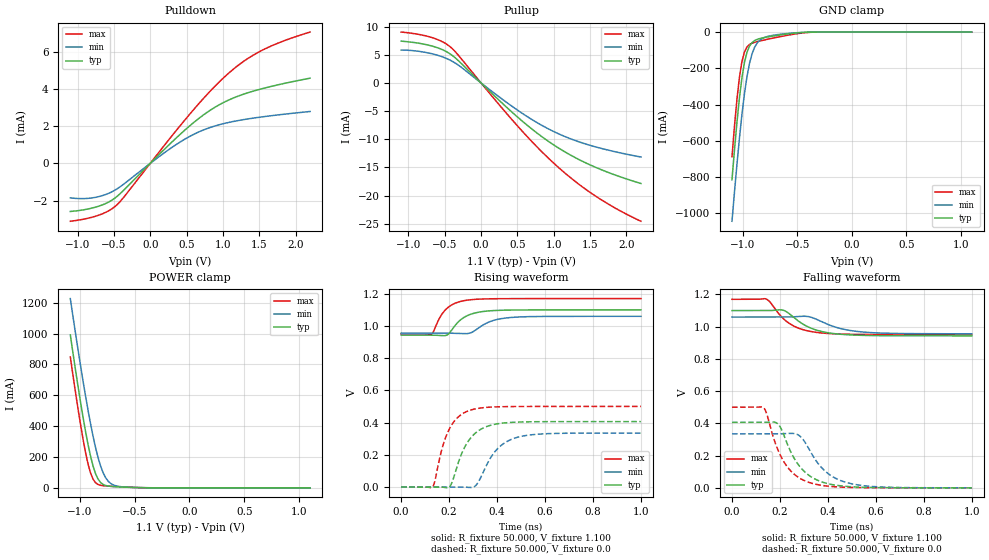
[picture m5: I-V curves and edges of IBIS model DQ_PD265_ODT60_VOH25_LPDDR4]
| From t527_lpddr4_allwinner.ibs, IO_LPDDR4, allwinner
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|   Model DQ_PD265_ODT60_VOH25_LPDDR4
[Model] DQ_PD265_ODT60_VOH25_LPDDR4
Model_type I/O
Polarity   Non-Inverting
Enable   Active-Low
Vinl =  0.550V
Vinh =  0.550V
C_comp   1.609pF   1.575pF   1.657pF
C_comp_pullup   0.520pF   0.503pF   0.541pF
C_comp_pulldown   0.824pF   0.801pF   0.852pF
[Model Spec]
Vinh   0.550V   0.530V   0.585V
Vinl   0.550V   0.530V   0.585V
[Temperature Range]   25.000   0.125k   -40.000
[Voltage Range]   1.100V   1.060V   1.170V
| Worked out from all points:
|   slope of the pulldown table from 0 to 0.165 V, typ, clamps not added: 257 ohm
|   slope of the pullup table from 0 to 0.165 V, typ, clamps not added: 80.1 ohm
|   GND clamp passes 1 mA (typ) near -0.41 V on its own axis
|   POWER clamp passes 1 mA (typ) near -0.43 V on its own axis
|   rising waveform, R_fixture 50.000, V_fixture 1.100: 20-80 % time 71.8ps typ, 84.1ps min, 62.7ps max; typ from 0.943 V to 1.1 V
|   rising waveform, R_fixture 50.000, V_fixture 0.0: 20-80 % time 78.6ps typ, 91ps min, 67.8ps max; typ from 0 V to 0.406 V
|   falling waveform, R_fixture 50.000, V_fixture 1.100: 20-80 % time 113ps typ, 130ps min, 98.9ps max; typ from 1.1 V to 0.943 V
|   falling waveform, R_fixture 50.000, V_fixture 0.0: 20-80 % time 101ps typ, 112ps min, 92.2ps max; typ from 0.406 V to 0 V
[Pulldown]
|Voltage   I(typ)   I(min)   I(max)
-1.1V     -2.583mA   -1.855mA   -3.111mA
-930mV    -2.503mA   -1.893mA   -3.008mA
-760mV    -2.36mA    -1.83mA    -2.848mA
-590mV    -2.113mA   -1.639mA   -2.585mA
-454mV    -1.765mA   -1.363mA   -2.21mA
396mV     1.503mA    1.108mA    1.946mA
668mV     2.412mA    1.688mA    3.204mA
940mV     3.126mA    2.064mA    4.336mA
1.212V    3.615mA    2.3mA      5.27mA
1.484V    3.954mA    2.467mA    5.96mA
1.79V     4.247mA    2.617mA    6.508mA
2.2V      4.576mA    2.787mA    7.054mA
[Pullup]
|Voltage   I(typ)   I(min)   I(max)
-1.1V     7.428mA    5.851mA    9.045mA
-690mV    6.608mA    5.228mA    8.118mA
-520mV    5.839mA    4.581mA    7.239mA
-418mV    5.091mA    3.997mA    6.347mA
-282mV    3.584mA    2.878mA    4.448mA
466mV     -5.65mA    -4.511mA   -7.12mA
738mV     -8.578mA   -6.799mA   -10.94mA
1.01V     -11.09mA   -8.694mA   -14.37mA
1.282V    -13.17mA   -10.16mA   -17.36mA
1.554V    -14.86mA   -11.28mA   -19.91mA
1.86V     -16.42mA   -12.26mA   -22.33mA
2.2V      -17.86mA   -13.16mA   -24.57mA
[GND_clamp]
|Voltage   I(typ)   I(min)   I(max)
-1.1V     -814.3mA   -1.043A    -687.3mA
-1.054V   -495.2mA   -726.8mA   -368.6mA
-1.031V   -359.9mA   -582mA     -246.8mA
-1.008V   -249mA     -451mA     -160.6mA
-985mV    -166.3mA   -337.4mA   -109.1mA
-962mV    -111mA     -244.1mA   -82.21mA
-939mV    -77.52mA   -172.2mA   -68.77mA
-893mV    -47.38mA   -84.61mA   -56.67mA
-847mV    -36.3mA    -46.06mA   -49.6mA
-709mV    -20.71mA   -16.6mA    -31.62mA
-364mV    -364.7uA   -458uA     -980.4uA
1.1V      0A         0A         0A
[POWER_clamp]
|Voltage   I(typ)   I(min)   I(max)
-1.085V   991.5mA    1.227A     848.5mA
-1.016V   664.1mA    901.8mA    518.1mA
-970mV    462mA      696.7mA    319.4mA
-924mV    282.7mA    505.5mA    156.2mA
-901mV    206.2mA    417.2mA    96.77mA
-855mV    91.54mA    261mA      33.12mA
-809mV    34.38mA    141.1mA    16.54mA
-763mV    15.18mA    65.46mA    12.33mA
-717mV    9.405mA    28.28mA    10.15mA
-625mV    5.457mA    7.413mA    6.614mA
-441mV    1.152mA    1.562mA    1.233mA
1.1V      0A         0A         0A
[Ramp]
| variable   typ   min   max
dV/dt_r   0.244/78.622p   0.201/91.020p   0.300/67.837p
dV/dt_f   93.992m/0.113n   62.393m/0.130n   0.131/98.949p
R_load = 50.000
[Rising Waveform]
R_fixture= 50.000
V_fixture= 1.100
V_fixture_min= 1.060
V_fixture_max= 1.170
|time   V(typ)   V(min)   V(max)
0s        943.3mV    956mV      951.1mV
127ps     943.5mV    956mV      949.3mV
162ps     941.4mV    956mV      1.054V
187ps     941.5mV    956mV      1.104V
200ps     953.8mV    955.5mV    1.12V
224ps     1.001V     954.3mV    1.141V
273ps     1.062V     952.3mV    1.16V
371ps     1.094V     1.028V     1.169V
449ps     1.099V     1.052V     1.17V
1ns       1.1V       1.06V      1.17V
[Rising Waveform]
R_fixture= 50.000
V_fixture= 0.0
V_fixture_min= 0.0
V_fixture_max= 0.0
|time   V(typ)   V(min)   V(max)
0s        3.867uV    87.88uV    305.2nV
131ps     361.1uV    164.6uV    -641.5uV
172ps     -666.3uV   58.16uV    246.1mV
198ps     -2.605mV   352.8uV    351.4mV
236ps     140.6mV    441.5uV    432.2mV
285ps     295.4mV    -3.306mV   475.6mV
316ps     342.6mV    17.72mV    487.3mV
399ps     391.9mV    233.1mV    498mV
477ps     402.8mV    305.3mV    499.9mV
1ns       406.3mV    335mV      500.4mV
[Falling Waveform]
R_fixture= 50.000
V_fixture= 1.100
V_fixture_min= 1.060
V_fixture_max= 1.170
|time   V(typ)   V(min)   V(max)
0s        1.1V       1.06V      1.17V
142ps     1.1V       1.06V      1.172V
158ps     1.1V       1.06V      1.154V
208ps     1.104V     1.06V      1.059V
240ps     1.08V      1.06V      1.02V
296ps     1.016V     1.065V     981.7mV
348ps     980.9mV    1.049V     965.6mV
442ps     954.5mV    992.9mV    954.8mV
539ps     946.5mV    968mV      952mV
1ns       943.4mV    956mV      951.1mV
[Falling Waveform]
R_fixture= 50.000
V_fixture= 0.0
V_fixture_min= 0.0
V_fixture_max= 0.0
|time   V(typ)   V(min)   V(max)
0s        406.3mV    335mV      500.4mV
133ps     406.3mV    334.9mV    494.8mV
145ps     406.7mV    335.1mV    458.9mV
187ps     401.9mV    335mV      252mV
216ps     328.7mV    336mV      162.6mV
278ps     141.1mV    326.7mV    63.99mV
321ps     77.42mV    241mV      33.74mV
395ps     27.69mV    95.29mV    11.16mV
491ps     7.368mV    27.79mV    2.654mV
1ns       10.25uV    129uV      1.612uV
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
